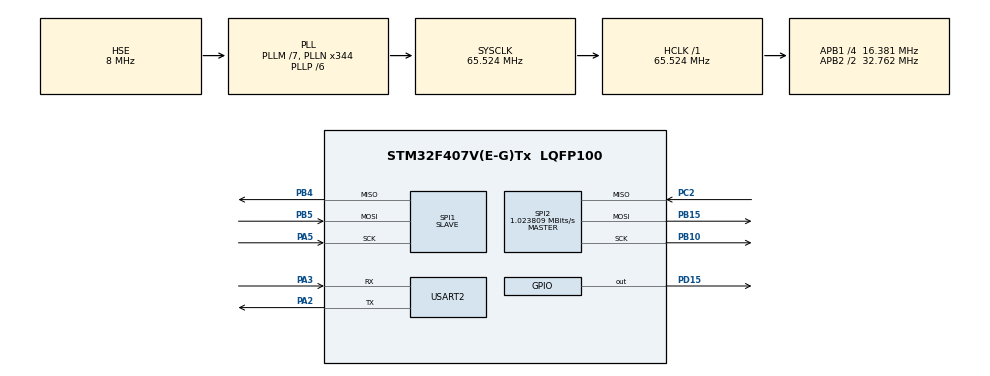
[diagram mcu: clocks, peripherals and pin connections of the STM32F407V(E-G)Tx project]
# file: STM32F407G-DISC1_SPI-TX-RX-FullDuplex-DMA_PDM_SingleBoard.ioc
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Dma.Request0=SPI2_RX
Dma.Request1=SPI2_TX
Dma.Request2=SPI1_TX
Dma.Request3=SPI1_RX
Dma.SPI1_RX.3.Direction=DMA_PERIPH_TO_MEMORY
Dma.SPI1_RX.3.FIFOMode=DMA_FIFOMODE_DISABLE
Dma.SPI1_RX.3.Instance=DMA2_Stream0
Dma.SPI1_RX.3.MemDataAlignment=DMA_MDATAALIGN_BYTE
Dma.SPI1_RX.3.MemInc=DMA_MINC_ENABLE
Dma.SPI1_RX.3.Mode=DMA_CIRCULAR
Dma.SPI1_RX.3.PeriphDataAlignment=DMA_PDATAALIGN_BYTE
Dma.SPI1_RX.3.PeriphInc=DMA_PINC_DISABLE
Dma.SPI1_RX.3.Priority=DMA_PRIORITY_MEDIUM
Dma.SPI1_TX.2.Direction=DMA_MEMORY_TO_PERIPH
Dma.SPI1_TX.2.FIFOMode=DMA_FIFOMODE_DISABLE
Dma.SPI1_TX.2.Instance=DMA2_Stream3
Dma.SPI1_TX.2.MemDataAlignment=DMA_MDATAALIGN_BYTE
Dma.SPI1_TX.2.MemInc=DMA_MINC_ENABLE
Dma.SPI1_TX.2.Mode=DMA_CIRCULAR
Dma.SPI1_TX.2.PeriphDataAlignment=DMA_PDATAALIGN_BYTE
Dma.SPI1_TX.2.PeriphInc=DMA_PINC_DISABLE
Dma.SPI1_TX.2.Priority=DMA_PRIORITY_MEDIUM
Dma.SPI2_RX.0.Direction=DMA_PERIPH_TO_MEMORY
Dma.SPI2_RX.0.FIFOMode=DMA_FIFOMODE_DISABLE
Dma.SPI2_RX.0.Instance=DMA1_Stream3
Dma.SPI2_RX.0.MemDataAlignment=DMA_MDATAALIGN_BYTE
Dma.SPI2_RX.0.MemInc=DMA_MINC_ENABLE
Dma.SPI2_RX.0.Mode=DMA_CIRCULAR
Dma.SPI2_RX.0.PeriphDataAlignment=DMA_PDATAALIGN_BYTE
Dma.SPI2_RX.0.PeriphInc=DMA_PINC_DISABLE
Dma.SPI2_RX.0.Priority=DMA_PRIORITY_MEDIUM
Dma.SPI2_TX.1.Direction=DMA_MEMORY_TO_PERIPH
Dma.SPI2_TX.1.FIFOMode=DMA_FIFOMODE_DISABLE
Dma.SPI2_TX.1.Instance=DMA1_Stream4
Dma.SPI2_TX.1.MemDataAlignment=DMA_MDATAALIGN_BYTE
Dma.SPI2_TX.1.MemInc=DMA_MINC_ENABLE
Dma.SPI2_TX.1.Mode=DMA_CIRCULAR
Dma.SPI2_TX.1.PeriphDataAlignment=DMA_PDATAALIGN_BYTE
Dma.SPI2_TX.1.PeriphInc=DMA_PINC_DISABLE
Dma.SPI2_TX.1.Priority=DMA_PRIORITY_MEDIUM
Mcu.Family=STM32F4
Mcu.Name=STM32F407V(E-G)Tx
Mcu.Package=LQFP100
NVIC.DMA1_Stream3_IRQn=true\:0\:0\:false\:false\:true\:false\:true
NVIC.DMA1_Stream4_IRQn=true\:0\:0\:false\:false\:true\:false\:true
NVIC.DMA2_Stream0_IRQn=true\:0\:0\:false\:false\:true\:false\:true
NVIC.DMA2_Stream3_IRQn=true\:0\:0\:false\:false\:true\:false\:true
NVIC.PriorityGroup=NVIC_PRIORITYGROUP_0
PA13.Mode=Trace_Asynchronous_SW
PA13.Signal=SYS_JTMS-SWDIO
PA14.Mode=Trace_Asynchronous_SW
PA14.Signal=SYS_JTCK-SWCLK
PA2.Mode=Asynchronous
PA2.Signal=USART2_TX
PA3.Mode=Asynchronous
PA3.Signal=USART2_RX
PA5.GPIO_Speed=GPIO_SPEED_FREQ_LOW
PA5.Mode=Full_Duplex_Slave
PA5.Signal=SPI1_SCK
PB10.GPIO_Speed=GPIO_SPEED_FREQ_LOW
PB10.Mode=Full_Duplex_Master
PB10.Signal=SPI2_SCK
PB15.GPIO_Speed=GPIO_SPEED_FREQ_LOW
PB15.Mode=Full_Duplex_Master
PB15.Signal=SPI2_MOSI
PB3.Mode=Trace_Asynchronous_SW
PB3.Signal=SYS_JTDO-SWO
PB4.GPIO_Speed=GPIO_SPEED_FREQ_LOW
PB4.Mode=Full_Duplex_Slave
PB4.Signal=SPI1_MISO
PB5.GPIO_Speed=GPIO_SPEED_FREQ_LOW
PB5.Mode=Full_Duplex_Slave
PB5.Signal=SPI1_MOSI
PC2.GPIO_Speed=GPIO_SPEED_FREQ_LOW
PC2.Mode=Full_Duplex_Master
PC2.Signal=SPI2_MISO
PD15.Signal=GPIO_Output
PH0-OSC_IN.Mode=HSE-External-Oscillator
PH0-OSC_IN.Signal=RCC_OSC_IN
PH1-OSC_OUT.Mode=HSE-External-Oscillator
PH1-OSC_OUT.Signal=RCC_OSC_OUT
ProjectManager.HeapSize=0x200
ProjectManager.StackSize=0x400
ProjectManager.TargetToolchain=STM32CubeIDE
RCC.48MHZClocksFreq_Value=56163265.30612246
RCC.AHBFreq_Value=65523809.52380953
RCC.APB1CLKDivider=RCC_HCLK_DIV4
RCC.APB1Freq_Value=16380952.380952382
RCC.APB1TimFreq_Value=32761904.761904765
RCC.APB2CLKDivider=RCC_HCLK_DIV2
RCC.APB2Freq_Value=32761904.761904765
RCC.APB2TimFreq_Value=65523809.52380953
RCC.CortexFreq_Value=65523809.52380953
RCC.HCLKFreq_Value=65523809.52380953
RCC.HSE_VALUE=8000000
RCC.HSI_VALUE=16000000
RCC.LSE_VALUE=32768
RCC.PLLM=7
RCC.PLLN=344
RCC.PLLP=RCC_PLLP_DIV6
RCC.PLLQ=7
RCC.PLLSourceVirtual=RCC_PLLSOURCE_HSE
RCC.SYSCLKFreq_VALUE=65523809.52380953
RCC.SYSCLKSource=RCC_SYSCLKSOURCE_PLLCLK
RCC.VCOOutputFreq_Value=393142857.1428572
SPI1.Direction=SPI_DIRECTION_2LINES
SPI1.Mode=SPI_MODE_SLAVE
SPI1.VirtualType=VM_SLAVE
SPI2.BaudRatePrescaler=SPI_BAUDRATEPRESCALER_16
SPI2.CalculateBaudRate=1.023809 MBits/s
SPI2.Direction=SPI_DIRECTION_2LINES
SPI2.Mode=SPI_MODE_MASTER
SPI2.VirtualType=VM_MASTER
USART2.VirtualMode=VM_ASYNC
board=STM32F407G-DISC1

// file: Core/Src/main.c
/* USER CODE BEGIN Header */
/**
 ******************************************************************************
 * @file           : main.c
 * @brief          : Main program body
 ******************************************************************************
 * @attention
 *
 * <h2><center>&copy; Copyright (c) 2021 STMicroelectronics.
 * All rights reserved.</center></h2>
 *
 * This software component is licensed by ST under Ultimate Liberty license
 * SLA0044, the "License"; You may not use this file except in compliance with
 * the License. You may obtain a copy of the License at:
 *                             www.st.com/SLA0044
 *
 ******************************************************************************
 */
/* USER CODE END Header */
#include "main.h"

/* USER CODE BEGIN Includes */

#include <stdio.h>
#include "pdm_tones.h"

/* USER CODE END Includes */

SPI_HandleTypeDef hspi1;
SPI_HandleTypeDef hspi2;
DMA_HandleTypeDef hdma_spi1_tx;
DMA_HandleTypeDef hdma_spi1_rx;
DMA_HandleTypeDef hdma_spi2_rx;
DMA_HandleTypeDef hdma_spi2_tx;

UART_HandleTypeDef huart2;

/* USER CODE BEGIN PV */

uint8_t send_data2[30] = "SPI buffer test";
uint8_t receive_data2[1000];

uint8_t send_data1[30] = "SPI buffer test";
uint8_t receive_data1[30];

/* USER CODE END PV */

void SystemClock_Config(void);
static void MX_GPIO_Init(void);
static void MX_USART2_UART_Init(void);
static void MX_DMA_Init(void);
static void MX_SPI2_Init(void);
static void MX_SPI1_Init(void);
/* USER CODE BEGIN PFP */

#define PUTCHAR_PROTOTYPE int __io_putchar(int ch)

/* USER CODE END PFP */

int main(void)
{

  /* MCU Configuration--------------------------------------------------------*/

  /* Reset of all peripherals, Initializes the Flash interface and the Systick. */
  HAL_Init();

  /* Configure the system clock */
  SystemClock_Config();

  /* Initialize all configured peripherals */
  MX_GPIO_Init();
  MX_USART2_UART_Init();
  MX_DMA_Init();
  MX_SPI2_Init();
  MX_SPI1_Init();
  /* USER CODE BEGIN 2 */

  printf("Starting >> STM32F407G-DISC1_SPI-TX-RX-FullDuplex-DMA_SingleBoard \n");

  for(uint16_t cntr = 0; cntr < 30; cntr++)
	  send_data2[cntr] = cntr + 10;

  for(uint16_t cntr = 0; cntr < 30; cntr++)
	  send_data1[cntr] = cntr;

  // first bit to MSB - 8bit tone500Hz_pdmdata
  for(uint16_t i = 0; i < sizeof(tone500Hz_pdmdata) * 8; i++)
  {
	  pdmBuffer8_8000bits_1000bytes[i >> 3] = (pdmBuffer8_8000bits_1000bytes[i >> 3] << 1) + tone500Hz_pdmdata[i % sizeof(tone500Hz_pdmdata)];
  }

  printf("pdmBuffer8_8000bits_1000bytes first bit to MSB\n");
  for (uint16_t Index = 0; Index < 2000; Index++)
  {
	  printf("%d %d\n",Index, pdmBuffer8_8000bits_1000bytes[Index]);
  }

  // working ok
//  HAL_SPI_TransmitReceive_DMA(&hspi1, send_data1, receive_data1, 30);
//  HAL_SPI_TransmitReceive_DMA(&hspi2, send_data2, receive_data2, 30);

  HAL_SPI_Transmit_DMA(&hspi1, pdmBuffer8_8000bits_1000bytes, 2000);
  HAL_SPI_Receive_DMA(&hspi2, receive_data2, 2000);

  HAL_Delay(100);

  printf("Ending >> STM32F407G-DISC1_SPI-TX-RX-FullDuplex-DMA_SingleBoard \n");

  /* USER CODE END 2 */

  /* Infinite loop */
	while (1)
	{

	}
}

void SystemClock_Config(void)
{
  RCC_OscInitTypeDef RCC_OscInitStruct = {0};
  RCC_ClkInitTypeDef RCC_ClkInitStruct = {0};

  /** Configure the main internal regulator output voltage
  */
  __HAL_RCC_PWR_CLK_ENABLE();
  __HAL_PWR_VOLTAGESCALING_CONFIG(PWR_REGULATOR_VOLTAGE_SCALE1);
  /** Initializes the RCC Oscillators according to the specified parameters
  * in the RCC_OscInitTypeDef structure.
  */
  RCC_OscInitStruct.OscillatorType = RCC_OSCILLATORTYPE_HSE;
  RCC_OscInitStruct.HSEState = RCC_HSE_ON;
  RCC_OscInitStruct.PLL.PLLState = RCC_PLL_ON;
  RCC_OscInitStruct.PLL.PLLSource = RCC_PLLSOURCE_HSE;
  RCC_OscInitStruct.PLL.PLLM = 7;
  RCC_OscInitStruct.PLL.PLLN = 344;
  RCC_OscInitStruct.PLL.PLLP = RCC_PLLP_DIV6;
  RCC_OscInitStruct.PLL.PLLQ = 7;
  if (HAL_RCC_OscConfig(&RCC_OscInitStruct) != HAL_OK)
  {
    Error_Handler();
  }
  /** Initializes the CPU, AHB and APB buses clocks
  */
  RCC_ClkInitStruct.ClockType = RCC_CLOCKTYPE_HCLK|RCC_CLOCKTYPE_SYSCLK
                              |RCC_CLOCKTYPE_PCLK1|RCC_CLOCKTYPE_PCLK2;
  RCC_ClkInitStruct.SYSCLKSource = RCC_SYSCLKSOURCE_PLLCLK;
  RCC_ClkInitStruct.AHBCLKDivider = RCC_SYSCLK_DIV1;
  RCC_ClkInitStruct.APB1CLKDivider = RCC_HCLK_DIV4;
  RCC_ClkInitStruct.APB2CLKDivider = RCC_HCLK_DIV2;

  if (HAL_RCC_ClockConfig(&RCC_ClkInitStruct, FLASH_LATENCY_2) != HAL_OK)
  {
    Error_Handler();
  }
}

static void MX_SPI1_Init(void)
{

  /* SPI1 parameter configuration*/
  hspi1.Instance = SPI1;
  hspi1.Init.Mode = SPI_MODE_SLAVE;
  hspi1.Init.Direction = SPI_DIRECTION_2LINES;
  hspi1.Init.DataSize = SPI_DATASIZE_8BIT;
  hspi1.Init.CLKPolarity = SPI_POLARITY_LOW;
  hspi1.Init.CLKPhase = SPI_PHASE_1EDGE;
  hspi1.Init.NSS = SPI_NSS_SOFT;
  hspi1.Init.FirstBit = SPI_FIRSTBIT_MSB;
  hspi1.Init.TIMode = SPI_TIMODE_DISABLE;
  hspi1.Init.CRCCalculation = SPI_CRCCALCULATION_DISABLE;
  hspi1.Init.CRCPolynomial = 10;
  if (HAL_SPI_Init(&hspi1) != HAL_OK)
  {
    Error_Handler();
  }

}

static void MX_SPI2_Init(void)
{

  /* SPI2 parameter configuration*/
  hspi2.Instance = SPI2;
  hspi2.Init.Mode = SPI_MODE_MASTER;
  hspi2.Init.Direction = SPI_DIRECTION_2LINES;
  hspi2.Init.DataSize = SPI_DATASIZE_8BIT;
  hspi2.Init.CLKPolarity = SPI_POLARITY_LOW;
  hspi2.Init.CLKPhase = SPI_PHASE_1EDGE;
  hspi2.Init.NSS = SPI_NSS_SOFT;
  hspi2.Init.BaudRatePrescaler = SPI_BAUDRATEPRESCALER_16;
  hspi2.Init.FirstBit = SPI_FIRSTBIT_MSB;
  hspi2.Init.TIMode = SPI_TIMODE_DISABLE;
  hspi2.Init.CRCCalculation = SPI_CRCCALCULATION_DISABLE;
  hspi2.Init.CRCPolynomial = 10;
  if (HAL_SPI_Init(&hspi2) != HAL_OK)
  {
    Error_Handler();
  }

}

static void MX_USART2_UART_Init(void)
{

  huart2.Instance = USART2;
  huart2.Init.BaudRate = 115200;
  huart2.Init.WordLength = UART_WORDLENGTH_8B;
  huart2.Init.StopBits = UART_STOPBITS_1;
  huart2.Init.Parity = UART_PARITY_NONE;
  huart2.Init.Mode = UART_MODE_TX_RX;
  huart2.Init.HwFlowCtl = UART_HWCONTROL_NONE;
  huart2.Init.OverSampling = UART_OVERSAMPLING_16;
  if (HAL_UART_Init(&huart2) != HAL_OK)
  {
    Error_Handler();
  }

}

static void MX_DMA_Init(void)
{

  /* DMA controller clock enable */
  __HAL_RCC_DMA1_CLK_ENABLE();
  __HAL_RCC_DMA2_CLK_ENABLE();

  /* DMA interrupt init */
  /* DMA1_Stream3_IRQn interrupt configuration */
  HAL_NVIC_SetPriority(DMA1_Stream3_IRQn, 0, 0);
  HAL_NVIC_EnableIRQ(DMA1_Stream3_IRQn);
  /* DMA1_Stream4_IRQn interrupt configuration */
  HAL_NVIC_SetPriority(DMA1_Stream4_IRQn, 0, 0);
  HAL_NVIC_EnableIRQ(DMA1_Stream4_IRQn);
  /* DMA2_Stream0_IRQn interrupt configuration */
  HAL_NVIC_SetPriority(DMA2_Stream0_IRQn, 0, 0);
  HAL_NVIC_EnableIRQ(DMA2_Stream0_IRQn);
  /* DMA2_Stream3_IRQn interrupt configuration */
  HAL_NVIC_SetPriority(DMA2_Stream3_IRQn, 0, 0);
  HAL_NVIC_EnableIRQ(DMA2_Stream3_IRQn);

}

static void MX_GPIO_Init(void)
{
  GPIO_InitTypeDef GPIO_InitStruct = {0};

  /* GPIO Ports Clock Enable */
  __HAL_RCC_GPIOH_CLK_ENABLE();
  __HAL_RCC_GPIOC_CLK_ENABLE();
  __HAL_RCC_GPIOA_CLK_ENABLE();
  __HAL_RCC_GPIOB_CLK_ENABLE();
  __HAL_RCC_GPIOD_CLK_ENABLE();

  /*Configure GPIO pin Output Level */
  HAL_GPIO_WritePin(GPIOD, GPIO_PIN_15, GPIO_PIN_RESET);

  /*Configure GPIO pin : PD15 */
  GPIO_InitStruct.Pin = GPIO_PIN_15;
  GPIO_InitStruct.Mode = GPIO_MODE_OUTPUT_PP;
  GPIO_InitStruct.Pull = GPIO_NOPULL;
  GPIO_InitStruct.Speed = GPIO_SPEED_FREQ_LOW;
  HAL_GPIO_Init(GPIOD, &GPIO_InitStruct);

}

/* USER CODE BEGIN 4 */

PUTCHAR_PROTOTYPE
{
	/* Place your implementation of fputc here */
	/* e.g. write a character to the LPUART1 and Loop until the end of transmission */
	HAL_UART_Transmit(&huart2, (uint8_t *)&ch, 1, 0xFFFF);

	return ch;
}

void HAL_SPI_RxCpltCallback(SPI_HandleTypeDef *hspi)
{
	UNUSED(hspi);

	HAL_GPIO_TogglePin(GPIOD, GPIO_PIN_15);

//	printf("HAL_SPI_RxCpltCallback \n");
}

void HAL_SPI_RxHalfCpltCallback(SPI_HandleTypeDef *hspi)
{
	UNUSED(hspi);

	HAL_GPIO_TogglePin(GPIOD, GPIO_PIN_15);
//	printf("HAL_SPI_RxHalfCpltCallback \n");
}

//void HAL_SPI_TxCpltCallback(SPI_HandleTypeDef *hspi)
//{
//	UNUSED(hspi);
//
//	printf("HAL_SPI_TxCpltCallback \n");
//}
//
//void HAL_SPI_TxHalfCpltCallback(SPI_HandleTypeDef *hspi)
//{
//	UNUSED(hspi);
//
//	printf("HAL_SPI_TxHalfCpltCallback \n");
//}
//
//void HAL_SPI_TxRxCpltCallback(SPI_HandleTypeDef *hspi)
//{
//	UNUSED(hspi);
//
//	printf("HAL_SPI_TxRxCpltCallback \n");
//}
//
//void HAL_SPI_TxRxHalfCpltCallback(SPI_HandleTypeDef *hspi)
//{
//	UNUSED(hspi);
//
//	printf("HAL_SPI_TxRxHalfCpltCallback \n");
//}

void HAL_SPI_ErrorCallback(SPI_HandleTypeDef *hspi)
{
	UNUSED(hspi);

	printf("HAL_SPI_ErrorCallback : Error code %d \n", hspi->ErrorCode);

}

/* USER CODE END 4 */

void Error_Handler(void)
{
  /* USER CODE BEGIN Error_Handler_Debug */
	/* User can add his own implementation to report the HAL error return state */
	printf("Error_Handler \n");
	__disable_irq();
	while (1)
	{
	}
  /* USER CODE END Error_Handler_Debug */
}

/************************ (C) COPYRIGHT STMicroelectronics *****END OF FILE****/
